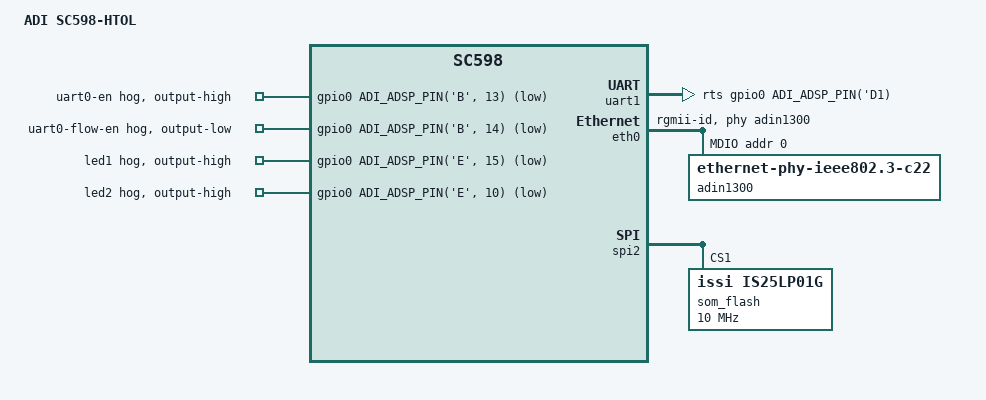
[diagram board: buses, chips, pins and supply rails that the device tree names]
// SPDX-License-Identifier: GPL-2.0-or-later
/*
 * (C) Copyright 2026 - Analog Devices, Inc.
 */

/dts-v1/;

#include "sc598-som.dtsi"

/ {
	model = "ADI SC598-HTOL";
	compatible = "adi,sc598-htol", "adi,sc59x-64";

	scb {
		uart1: serial@0x31003400 {
			compatible = "adi,uart4";
			reg = <0x31003400 0x1000>;
			pinctrl-names = "default";
			pinctrl-0 = <&uart1_default>;
			clocks = <&clk ADSP_SC598_CLK_CGU0_SCLK0>;
			clock-names = "sclk0";
			linux,rs485-enabled-at-boot-time;
			rs485-rts-active-low;
			rts-gpios = <&gpio0 ADI_ADSP_PIN('D', 1) GPIO_ACTIVE_HIGH>;
			status = "okay";
		};
	};
};

&pinctrl0 {
	uart1_default: uart1_pins {
		pins {
			pinmux = <ADI_ADSP_PINMUX('D', 4, ADI_ADSP_PINFUNC_ALT0)>,
				 <ADI_ADSP_PINMUX('D', 5, ADI_ADSP_PINFUNC_ALT0)>;
		};
	};
};

&gpio0 {
	uart0-en {
		gpio-hog;
		gpios = <ADI_ADSP_PIN('B', 13) GPIO_ACTIVE_LOW>;
		output-high;
		line-name = "uart0-en";
		bootph-pre-ram;
	};

	uart0-flow-en {
		gpio-hog;
		gpios = <ADI_ADSP_PIN('B', 14) GPIO_ACTIVE_LOW>;
		output-low;
		line-name = "uart0-flow-en";
	};

	led1 {
		gpio-hog;
		gpios = <ADI_ADSP_PIN('E', 15) GPIO_ACTIVE_LOW>;
		output-high;
		line-name = "led1";
	};

	led2 {
		gpio-hog;
		gpios = <ADI_ADSP_PIN('E', 10) GPIO_ACTIVE_LOW>;
		output-high;
		line-name = "led2";
	};
};

&eth0 {
	compatible = "adi,sc59x-dwmac-eqos";
	reg = <0x31040000 0x10000>;
	phy-handle = <&adin1300>;
	phy-mode = "rgmii-id";

	mdio {
		compatible = "snps,dwmac-mdio";
		#address-cells = <1>;
		#size-cells = <0>;

		adin1300: ethernet-phy@0 {
			compatible = "ethernet-phy-ieee802.3-c22";
			reg = <0>;
		};
	};
};

&spi2 {
	som_flash: is25lp01g@1 {
		#address-cells = <1>;
		#size-cells = <1>;
		compatible = "issi,is25lp01g", "jedec,spi-nor";
		reg = <1>;
		spi-tx-bus-width = <4>;
		spi-rx-bus-width = <4>;
		spi-max-frequency = <10000000>;
	};
};
